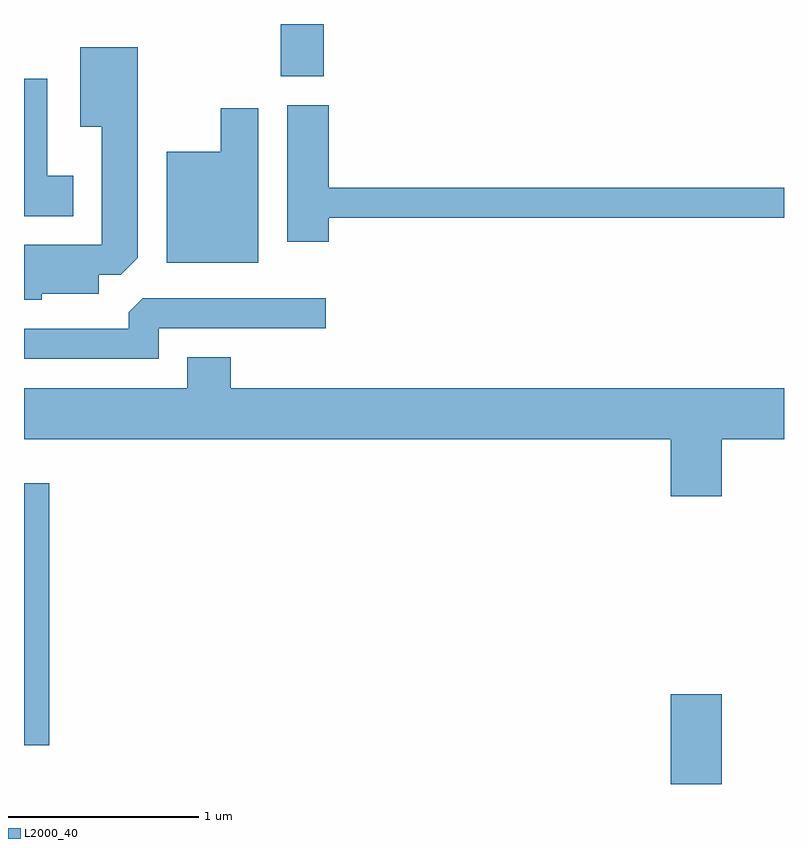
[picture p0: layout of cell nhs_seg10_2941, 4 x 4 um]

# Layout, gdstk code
import gdstk
lib = gdstk.Library(unit=1e-6, precision=1e-09)
def R(c, l, rs):  # rectangles x0, y0, x1, y1
    for r in rs: c.add(gdstk.rectangle(r[:2], r[2:], *l))
def P(c, l, *ps):  # polygons
    for p in ps: c.add(gdstk.Polygon(p, *l))
L2000_40 = (2000, 40)

nhs_seg10_2941 = lib.new_cell('nhs_seg10_2941')
R(nhs_seg10_2941, L2000_40, [(275.016,2136.522,275.284,2136.994), (271.611,2136.726,271.744,2138.104), (272.961,2140.246,273.189,2140.522)])
P(nhs_seg10_2941, L2000_40, [(271.704,2139.101),(272.004,2139.101),(272.004,2139.201),(272.119,2139.201),(272.209,2139.292),(272.209,2140.399),(271.906,2140.399),(271.906,2139.981),(272.021,2139.981),(272.021,2139.359),(271.611,2139.359),(271.611,2139.071),(271.704,2139.071)],
  [(271.869,2139.724),(271.734,2139.724),(271.734,2140.234),(271.611,2140.234),(271.611,2139.511),(271.869,2139.511)],
  [(273.214,2139.501),(275.611,2139.501),(275.611,2139.659),(273.214,2139.659),(273.214,2140.094),(272.996,2140.094),(272.996,2139.376),(273.214,2139.376)],
  [(272.844,2140.079),(272.646,2140.079),(272.646,2139.849),(272.361,2139.849),(272.361,2139.266),(272.844,2139.266)],
  [(272.319,2138.921),(273.198,2138.921),(273.198,2139.079),(272.237,2139.079),(272.161,2139.004),(272.161,2138.919),(271.611,2138.919),(271.611,2138.761),(272.319,2138.761)],
  [(275.284,2138.336),(275.611,2138.336),(275.611,2138.604),(272.699,2138.604),(272.699,2138.769),(272.471,2138.769),(272.471,2138.604),(271.611,2138.604),(271.611,2138.336),(275.016,2138.336),(275.016,2138.036),(275.284,2138.036)])

lib.write_gds('nhs_seg10_2941.gds')
